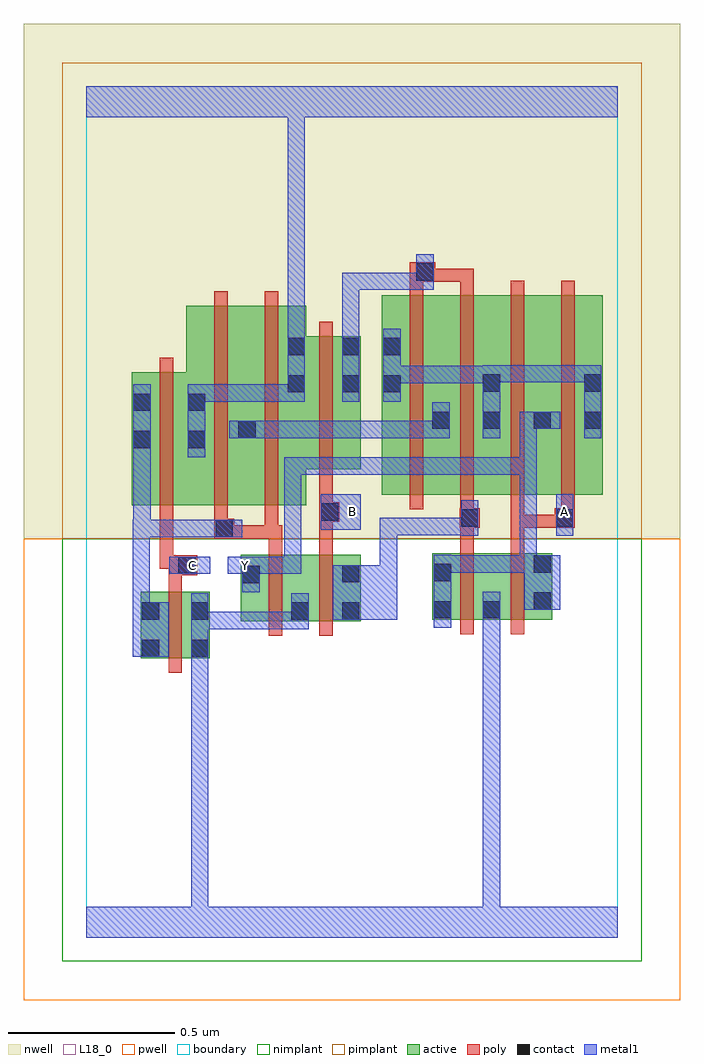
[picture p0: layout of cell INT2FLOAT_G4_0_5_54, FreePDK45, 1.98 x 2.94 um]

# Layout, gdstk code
import gdstk
lib = gdstk.Library(unit=1e-6, precision=1e-09)
def R(c, l, rs):  # rectangles x0, y0, x1, y1
    for r in rs: c.add(gdstk.rectangle(r[:2], r[2:], *l))
def A(c, l, x, y, w, h, nx, ny, dx, dy):  # array of equal rectangles
    R(c, l, [(x+i*dx, y+j*dy, x+i*dx+w, y+j*dy+h) for i in range(nx) for j in range(ny)])
active = (1, 0)
pwell = (2, 0)
nwell = (3, 0)
nimplant = (4, 0)
pimplant = (5, 0)
poly = (9, 0)
contact = (10, 0)
metal1 = (11, 0)
L18_0 = (18, 0)
boundary = (235, 0)

int2float_g4_0_5_54 = lib.new_cell('INT2FLOAT_G4_0_5_54')
A(int2float_g4_0_5_54, active, 1.038, 1.332, 0.06, 0.512, 4, 1, 0.152, 0)
A(int2float_g4_0_5_54, active, 1.038, 1.332, 0.212, 0.6, 3, 1, 0.152, 0)
R(int2float_g4_0_5_54, active, [(0.164,0.84,0.224,1.04), (0.164,0.84,0.372,1.04), (0.312,0.84,0.372,1.04), (0.466,0.952,0.674,1.152), (0.614,0.952,0.674,1.152), (0.614,0.952,0.826,1.152), (0.766,0.952,0.826,1.152), (0.466,0.956,0.526,1.152), (1.042,0.956,1.102,1.156), (1.042,0.956,1.25,1.156), (1.19,0.956,1.402,1.156), (1.19,0.956,1.25,1.016), (1.342,0.956,1.402,1.156), (0.138,1.3,0.362,1.7), (0.138,1.3,0.198,1.644), (0.302,1.3,0.514,1.9), (0.302,1.3,0.362,1.644), (0.454,1.3,0.662,1.9), (0.454,1.3,0.514,1.844), (0.89,1.332,0.95,1.844), (0.89,1.332,1.098,1.932), (0.602,1.408,0.826,1.808), (0.602,1.408,0.662,1.9), (0.766,1.408,0.826,1.808)])
R(int2float_g4_0_5_54, pwell, [(-0.188,-0.188,1.788,1.2)])
R(int2float_g4_0_5_54, nwell, [(-0.188,1.2,1.788,2.748)])
R(int2float_g4_0_5_54, nimplant, [(-0.072,-0.072,1.672,1.2)])
R(int2float_g4_0_5_54, pimplant, [(-0.072,1.2,1.672,2.632)])
A(int2float_g4_0_5_54, poly, 0.974, 1.288, 0.04, 0.688, 4, 1, 0.152, 0)
R(int2float_g4_0_5_54, poly, [(0.248,0.796,0.288,1.084), (0.55,0.908,0.59,1.196), (0.702,0.908,0.742,1.196), (1.126,0.912,1.166,1.2), (1.278,0.912,1.318,1.2), (0.248,1.044,0.288,1.13), (0.248,1.09,0.334,1.15), (0.222,1.11,0.262,1.296), (0.222,1.11,0.288,1.15), (0.248,1.11,0.288,1.15), (0.55,1.156,0.59,1.24), (0.702,1.156,0.742,1.29), (1.126,1.16,1.166,1.272), (1.278,1.16,1.318,1.272), (0.386,1.2,0.446,1.26), (0.406,1.2,0.446,1.24), (0.406,1.2,0.446,1.24), (0.406,1.2,0.578,1.24), (0.538,1.2,0.578,1.24), (0.538,1.2,0.578,1.24), (0.538,1.2,0.578,1.296), (0.538,1.2,0.59,1.24), (0.386,1.22,0.426,1.296), (1.124,1.232,1.184,1.292), (1.278,1.232,1.318,1.272), (1.278,1.232,1.318,1.272), (1.278,1.232,1.318,1.272), (1.278,1.232,1.45,1.272), (1.278,1.232,1.318,1.328), (1.41,1.232,1.45,1.272), (1.41,1.232,1.45,1.272), (1.41,1.232,1.47,1.292), (0.702,1.25,0.762,1.31), (1.126,1.252,1.166,1.328), (1.126,1.252,1.166,1.292), (1.126,1.252,1.166,1.292), (1.43,1.252,1.47,1.328), (0.222,1.256,0.262,1.744), (0.386,1.256,0.426,1.944), (0.538,1.256,0.578,1.944), (0.702,1.27,0.742,1.31), (0.702,1.27,0.742,1.31), (0.702,1.27,0.742,1.404), (0.702,1.364,0.742,1.852), (0.974,1.936,1.014,2.012), (1.126,1.936,1.166,2.012), (0.974,1.972,1.05,2.032), (1.01,1.972,1.166,2.012), (1.126,1.972,1.166,2.012), (1.126,1.972,1.166,2.012), (1.126,1.972,1.166,2.012)])
A(int2float_g4_0_5_54, contact, 1.042, 1.53, 0.052, 0.052, 4, 1, 0.152, 0)
R(int2float_g4_0_5_54, contact, [(0.168,0.844,0.22,0.896), (0.316,0.844,0.368,0.896), (0.168,0.956,0.22,1.008), (0.316,0.956,0.368,1.008), (0.618,0.956,0.67,1.008), (0.77,0.956,0.822,1.008), (1.046,0.96,1.098,1.012), (1.194,0.96,1.246,1.012), (1.346,0.986,1.398,1.038), (0.47,1.066,0.522,1.118), (0.77,1.068,0.822,1.12), (1.046,1.072,1.098,1.124), (0.278,1.094,0.33,1.146), (1.346,1.098,1.398,1.15), (0.39,1.204,0.442,1.256), (1.128,1.236,1.18,1.288), (1.414,1.236,1.466,1.288), (0.706,1.254,0.758,1.306), (0.142,1.472,0.194,1.524), (0.306,1.472,0.358,1.524), (0.458,1.502,0.51,1.554), (0.142,1.584,0.194,1.636), (0.306,1.584,0.358,1.636), (0.606,1.64,0.658,1.692), (0.77,1.64,0.822,1.692), (0.894,1.64,0.946,1.692), (1.194,1.642,1.246,1.694), (1.498,1.642,1.55,1.694), (0.606,1.752,0.658,1.804), (0.77,1.752,0.822,1.804), (0.894,1.752,0.946,1.804), (0.994,1.976,1.046,2.028)])
R(int2float_g4_0_5_54, metal1, [(0,0,1.6,0.092), (0.316,0.04,0.368,0.868), (1.194,0.04,1.246,0.984), (0.316,0.816,0.368,0.868), (0.316,0.816,0.368,0.868), (0.316,0.816,0.368,0.868), (0.316,0.816,0.368,0.868), (0.316,0.816,0.368,0.868), (0.316,0.816,0.368,0.868), (0.316,0.816,0.368,0.868), (0.316,0.816,0.368,0.868), (0.316,0.816,0.368,0.868), (0.316,0.816,0.368,0.868), (0.316,0.816,0.368,0.868), (0.316,0.816,0.368,0.868), (0.316,0.816,0.368,0.868), (0.316,0.816,0.368,0.868), (0.316,0.816,0.368,0.868), (0.316,0.816,0.368,0.868), (0.316,0.816,0.368,1.036), (0.14,0.844,0.248,1.008), (0.316,0.928,0.368,0.98), (0.316,0.928,0.368,0.98), (0.316,0.928,0.484,0.98), (0.432,0.928,0.484,0.98), (0.432,0.928,0.484,0.98), (0.432,0.928,0.484,0.98), (0.432,0.928,0.67,0.98), (0.618,0.928,0.67,1.036), (1.046,0.932,1.098,1.152), (1.194,0.932,1.246,0.984), (1.194,0.932,1.246,0.984), (1.194,0.932,1.246,0.984), (1.194,0.932,1.246,0.984), (1.194,0.932,1.246,0.984), (1.194,0.932,1.246,0.984), (1.194,0.932,1.246,0.984), (1.194,0.932,1.246,0.984), (1.194,0.932,1.246,0.984), (1.194,0.932,1.246,0.984), (1.194,0.932,1.246,0.984), (1.194,0.932,1.246,0.984), (1.194,0.932,1.246,0.984), (1.194,0.932,1.246,0.984), (1.194,0.932,1.246,0.984), (1.194,0.932,1.246,0.984), (1.194,0.932,1.246,1.04), (0.14,0.956,0.192,1.256), (0.742,0.956,0.936,1.12), (1.318,0.986,1.426,1.15), (0.47,1.038,0.522,1.146), (0.884,1.068,0.936,1.262), (0.25,1.094,0.374,1.146), (0.426,1.094,0.534,1.146), (0.47,1.094,0.522,1.146), (0.482,1.094,0.534,1.146), (0.482,1.094,0.534,1.146), (0.482,1.094,0.648,1.146), (0.596,1.094,0.648,1.146), (0.596,1.094,0.648,1.444), (1.046,1.098,1.208,1.15), (1.156,1.098,1.208,1.15), (1.156,1.098,1.208,1.15), (1.156,1.098,1.208,1.15), (1.156,1.098,1.356,1.15), (1.304,1.098,1.356,1.15), (1.304,1.098,1.356,1.444), (1.304,1.098,1.37,1.15), (1.304,1.098,1.37,1.15), (1.318,1.098,1.37,1.15), (0.14,1.204,0.192,1.256), (0.14,1.204,0.192,1.256), (0.14,1.204,0.194,1.256), (0.142,1.204,0.194,1.256), (0.142,1.204,0.194,1.256), (0.142,1.204,0.368,1.256), (0.142,1.204,0.194,1.496), (0.316,1.204,0.368,1.256), (0.316,1.204,0.414,1.256), (0.362,1.204,0.47,1.256), (1.128,1.208,1.18,1.316), (1.414,1.208,1.466,1.334), (0.884,1.21,0.936,1.262), (0.884,1.21,0.936,1.262), (0.884,1.21,0.936,1.262), (0.884,1.21,1.07,1.262), (1.018,1.21,1.07,1.262), (1.018,1.21,1.07,1.262), (1.018,1.21,1.07,1.262), (1.018,1.21,1.18,1.262), (0.706,1.226,0.826,1.334), (0.596,1.392,0.648,1.444), (0.596,1.392,0.648,1.444), (0.596,1.392,0.648,1.444), (0.596,1.392,0.936,1.444), (0.884,1.392,0.936,1.444), (0.884,1.392,0.936,1.444), (0.884,1.392,0.936,1.444), (0.884,1.392,1.056,1.444), (1.004,1.392,1.056,1.444), (1.004,1.392,1.056,1.444), (1.004,1.392,1.056,1.444), (1.004,1.392,1.246,1.444), (1.194,1.392,1.246,1.444), (1.194,1.392,1.246,1.444), (1.194,1.392,1.246,1.444), (1.194,1.392,1.356,1.444), (1.304,1.392,1.356,1.444), (1.304,1.392,1.356,1.444), (1.304,1.392,1.356,1.444), (1.304,1.392,1.356,1.582), (0.142,1.444,0.194,1.664), (0.306,1.444,0.358,1.664), (0.43,1.502,0.538,1.554), (0.486,1.502,0.538,1.554), (0.486,1.502,0.538,1.554), (0.486,1.502,0.648,1.554), (0.596,1.502,0.648,1.554), (0.596,1.502,0.648,1.554), (0.596,1.502,0.648,1.554), (0.596,1.502,0.936,1.554), (0.884,1.502,0.936,1.554), (0.884,1.502,0.936,1.554), (0.884,1.502,0.936,1.554), (0.884,1.502,1.07,1.554), (1.018,1.502,1.07,1.554), (1.018,1.502,1.094,1.554), (1.042,1.502,1.094,1.61), (1.194,1.502,1.246,1.722), (1.498,1.502,1.55,1.722), (1.304,1.53,1.426,1.582), (0.306,1.612,0.358,1.664), (0.306,1.612,0.358,1.664), (0.306,1.612,0.484,1.664), (0.432,1.612,0.484,1.664), (0.432,1.612,0.484,1.664), (0.432,1.612,0.484,1.664), (0.432,1.612,0.658,1.664), (0.606,1.612,0.658,1.832), (0.77,1.612,0.822,1.832), (0.894,1.612,0.946,1.832), (0.894,1.668,1.056,1.72), (1.004,1.668,1.056,1.72), (1.004,1.668,1.056,1.72), (1.004,1.668,1.056,1.72), (1.004,1.668,1.246,1.72), (1.194,1.668,1.246,1.72), (1.194,1.668,1.246,1.72), (1.194,1.67,1.356,1.722), (1.304,1.67,1.356,1.722), (1.304,1.67,1.356,1.722), (1.304,1.67,1.356,1.722), (1.304,1.67,1.55,1.722), (1.498,1.67,1.55,1.722), (1.498,1.67,1.55,1.722), (0.606,1.78,0.658,1.832), (0.606,1.78,0.658,1.832), (0.606,1.78,0.658,1.832), (0.606,1.78,0.658,1.832), (0.606,1.78,0.658,1.832), (0.606,1.78,0.658,1.832), (0.606,1.78,0.658,1.832), (0.606,1.78,0.658,1.832), (0.606,1.78,0.658,1.832), (0.606,1.78,0.658,1.832), (0.606,1.78,0.658,1.832), (0.606,1.78,0.658,1.832), (0.606,1.78,0.658,2.52), (0.77,1.78,0.822,2), (0.77,1.948,0.822,2), (0.77,1.948,0.822,2), (0.77,1.948,0.822,2), (0.77,1.948,0.822,2), (0.77,1.948,0.822,2), (0.77,1.948,0.936,2), (0.884,1.948,0.936,2), (0.884,1.948,1.046,2), (0.994,1.948,1.046,2.056), (0,2.468,1.6,2.56)])
R(int2float_g4_0_5_54, L18_0, [(0,0,1.6,0.092), (0.316,0.04,0.368,0.868), (1.194,0.04,1.246,0.984), (0.316,0.816,0.368,0.868), (0.316,0.816,0.368,0.868), (0.316,0.816,0.368,0.868), (0.316,0.816,0.368,0.868), (0.316,0.816,0.368,0.868), (0.316,0.816,0.368,0.868), (0.316,0.816,0.368,0.868), (0.316,0.816,0.368,0.868), (0.316,0.816,0.368,0.868), (0.316,0.816,0.368,0.868), (0.316,0.816,0.368,0.868), (0.316,0.816,0.368,0.868), (0.316,0.816,0.368,0.868), (0.316,0.816,0.368,0.868), (0.316,0.816,0.368,0.868), (0.316,0.816,0.368,0.868), (0.316,0.816,0.368,1.036), (0.316,0.928,0.368,0.98), (0.316,0.928,0.368,0.98), (0.316,0.928,0.484,0.98), (0.432,0.928,0.484,0.98), (0.432,0.928,0.484,0.98), (0.432,0.928,0.484,0.98), (0.432,0.928,0.67,0.98), (0.618,0.928,0.67,1.036), (1.046,0.932,1.098,1.152), (1.194,0.932,1.246,0.984), (1.194,0.932,1.246,0.984), (1.194,0.932,1.246,0.984), (1.194,0.932,1.246,0.984), (1.194,0.932,1.246,0.984), (1.194,0.932,1.246,0.984), (1.194,0.932,1.246,0.984), (1.194,0.932,1.246,0.984), (1.194,0.932,1.246,0.984), (1.194,0.932,1.246,0.984), (1.194,0.932,1.246,0.984), (1.194,0.932,1.246,0.984), (1.194,0.932,1.246,0.984), (1.194,0.932,1.246,0.984), (1.194,0.932,1.246,0.984), (1.194,0.932,1.246,0.984), (1.194,0.932,1.246,1.04), (1.318,0.986,1.426,1.15), (0.47,1.038,0.522,1.146), (0.25,1.094,0.374,1.146), (0.294,1.094,0.346,1.146), (0.426,1.094,0.534,1.146), (0.454,1.094,0.506,1.146), (0.47,1.094,0.522,1.146), (0.482,1.094,0.534,1.146), (0.482,1.094,0.534,1.146), (0.482,1.094,0.648,1.146), (0.596,1.094,0.648,1.146), (0.596,1.094,0.648,1.444), (1.046,1.098,1.208,1.15), (1.156,1.098,1.208,1.15), (1.156,1.098,1.208,1.15), (1.156,1.098,1.208,1.15), (1.156,1.098,1.356,1.15), (1.304,1.098,1.356,1.15), (1.304,1.098,1.37,1.15), (1.304,1.098,1.37,1.15), (1.304,1.098,1.356,1.444), (1.318,1.098,1.37,1.15), (1.414,1.208,1.466,1.334), (0.706,1.226,0.826,1.334), (0.774,1.254,0.826,1.306), (1.414,1.254,1.466,1.306), (0.596,1.392,0.648,1.444), (0.596,1.392,0.648,1.444), (0.596,1.392,0.648,1.444), (0.596,1.392,0.936,1.444), (0.884,1.392,0.936,1.444), (0.884,1.392,0.936,1.444), (0.884,1.392,0.936,1.444), (0.884,1.392,1.056,1.444), (1.004,1.392,1.056,1.444), (1.004,1.392,1.056,1.444), (1.004,1.392,1.056,1.444), (1.004,1.392,1.246,1.444), (1.194,1.392,1.246,1.444), (1.194,1.392,1.246,1.444), (1.194,1.392,1.246,1.444), (1.194,1.392,1.356,1.444), (1.304,1.392,1.356,1.444), (1.304,1.392,1.356,1.444), (1.304,1.392,1.356,1.444), (1.304,1.392,1.356,1.582), (0.306,1.444,0.358,1.664), (1.304,1.53,1.426,1.582), (0.306,1.612,0.358,1.664), (0.306,1.612,0.358,1.664), (0.306,1.612,0.484,1.664), (0.432,1.612,0.484,1.664), (0.432,1.612,0.484,1.664), (0.432,1.612,0.484,1.664), (0.432,1.612,0.658,1.664), (0.606,1.612,0.658,1.832), (0.606,1.78,0.658,1.832), (0.606,1.78,0.658,1.832), (0.606,1.78,0.658,1.832), (0.606,1.78,0.658,1.832), (0.606,1.78,0.658,1.832), (0.606,1.78,0.658,1.832), (0.606,1.78,0.658,1.832), (0.606,1.78,0.658,1.832), (0.606,1.78,0.658,1.832), (0.606,1.78,0.658,1.832), (0.606,1.78,0.658,1.832), (0.606,1.78,0.658,1.832), (0.606,1.78,0.658,2.52), (0,2.468,1.6,2.56)])
R(int2float_g4_0_5_54, boundary, [(0,0,1.6,2.56)])
int2float_g4_0_5_54.add(gdstk.Label('A', (1.44,1.28), layer=11, texttype=0))
int2float_g4_0_5_54.add(gdstk.Label('B', (0.8,1.28), layer=11, texttype=0))
int2float_g4_0_5_54.add(gdstk.Label('C', (0.32,1.12), layer=11, texttype=0))
int2float_g4_0_5_54.add(gdstk.Label('Y', (0.48,1.12), layer=11, texttype=0))

lib.write_gds('INT2FLOAT_G4_0_5_54.gds')
